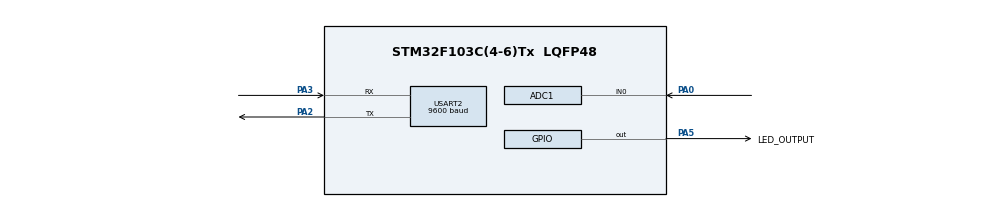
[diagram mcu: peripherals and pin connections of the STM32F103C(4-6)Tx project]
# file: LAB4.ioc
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ADC1.Channel-0\#ChannelRegularConversion=ADC_CHANNEL_0
ADC1.ContinuousConvMode=ENABLE
ADC1.NbrOfConversionFlag=1
ADC1.Rank-0\#ChannelRegularConversion=1
ADC1.SamplingTime-0\#ChannelRegularConversion=ADC_SAMPLETIME_1CYCLE_5
ADC1.master=1
Mcu.Family=STM32F1
Mcu.Name=STM32F103C(4-6)Tx
Mcu.Package=LQFP48
NVIC.PriorityGroup=NVIC_PRIORITYGROUP_4
NVIC.TIM2_IRQn=true\:0\:0\:false\:false\:true\:true\:true
NVIC.USART2_IRQn=true\:0\:0\:false\:false\:true\:true\:true
PA0-WKUP.Signal=ADCx_IN0
PA2.Mode=Asynchronous
PA2.Signal=USART2_TX
PA3.Mode=Asynchronous
PA3.Signal=USART2_RX
PA5.GPIO_Label=LED_OUTPUT
PA5.Signal=GPIO_Output
ProjectManager.HeapSize=0x200
ProjectManager.StackSize=0x400
ProjectManager.TargetToolchain=STM32CubeIDE
RCC.APB1Freq_Value=8000000
RCC.APB2Freq_Value=8000000
SH.ADCx_IN0.0=ADC1_IN0,IN0
TIM2.Period=9
TIM2.Prescaler=7999
USART2.BaudRate=9600
USART2.VirtualMode=VM_ASYNC
VP_SYS_VS_ND.Mode=No_Debug
VP_TIM2_VS_ClockSourceINT.Mode=Internal
board=custom

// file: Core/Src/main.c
/* USER CODE BEGIN Header */
/**
  ******************************************************************************
  * @file           : main.c
  * @brief          : Main program body
  ******************************************************************************
  * @attention
  *
  * <h2><center>&copy; Copyright (c) 2023 STMicroelectronics.
  * All rights reserved.</center></h2>
  *
  * This software component is licensed by ST under BSD 3-Clause license,
  * the "License"; You may not use this file except in compliance with the
  * License. You may obtain a copy of the License at:
  *                        opensource.org/licenses/BSD-3-Clause
  *
  ******************************************************************************
  */
/* USER CODE END Header */
#include "main.h"
#include "uart_fsm.h"

TIM_HandleTypeDef htim2;

ADC_HandleTypeDef hadc1;

UART_HandleTypeDef huart2;

void SystemClock_Config(void);
static void MX_GPIO_Init(void);
static void MX_USART2_UART_Init(void);
static void MX_ADC1_Init(void);
static void MX_TIM2_Init(void);

int main(void)
{

  /* MCU Configuration--------------------------------------------------------*/

  /* Reset of all peripherals, Initializes the Flash interface and the Systick. */
  HAL_Init();

  /* Configure the system clock */
  SystemClock_Config();

  /* Initialize all configured peripherals */
  MX_GPIO_Init();
  MX_USART2_UART_Init();
  MX_ADC1_Init();
  MX_TIM2_Init();
  /* USER CODE BEGIN 2 */
  HAL_TIM_Base_Start_IT (& htim2 ) ;
  /* USER CODE END 2 */

  /* Infinite loop */
  /* USER CODE BEGIN WHILE */
  initial_program();
  HAL_UART_Receive_IT(&huart2, &temp, 1);
  setTimer(50, 1);
//  setTimer(50, 2);
//  setTimer(100, 3);
  while (1)
  {
	  if (timer_flag[1] == 1) {
		  HAL_GPIO_TogglePin(LED_OUTPUT_GPIO_Port, LED_OUTPUT_Pin);
		  setTimer(50, 1);
	  }
//	  HAL_ADC_Start(&hadc1);
//	  ADC_value = HAL_ADC_GetValue(&hadc1);
//	  HAL_ADC_Stop(&hadc1);
//	  HAL_UART_Transmit(&huart2, (void *)str, sprintf(str, "%d\r", ADC_value), 1000);
//	  HAL_Delay(2000);

	  if(buffer_flag == 1) {
	  			  command_parser_fsm();
	  			  buffer_flag = 0;
	  		  }
	  uart_communication_fsm();

//	  if (timer_flag[2] == 1) {
//
//		  setTimer(50, 2);
//	  }
//
//	  if (timer_flag[3] == 1) {
//
//		  setTimer(100, 3);
//	  }
    /* USER CODE END WHILE */

  }
}

void SystemClock_Config(void)
{
  RCC_OscInitTypeDef RCC_OscInitStruct = {0};
  RCC_ClkInitTypeDef RCC_ClkInitStruct = {0};
  RCC_PeriphCLKInitTypeDef PeriphClkInit = {0};

  /** Initializes the RCC Oscillators according to the specified parameters
  * in the RCC_OscInitTypeDef structure.
  */
  RCC_OscInitStruct.OscillatorType = RCC_OSCILLATORTYPE_HSI;
  RCC_OscInitStruct.HSIState = RCC_HSI_ON;
  RCC_OscInitStruct.HSICalibrationValue = RCC_HSICALIBRATION_DEFAULT;
  RCC_OscInitStruct.PLL.PLLState = RCC_PLL_NONE;
  if (HAL_RCC_OscConfig(&RCC_OscInitStruct) != HAL_OK)
  {
    Error_Handler();
  }
  /** Initializes the CPU, AHB and APB buses clocks
  */
  RCC_ClkInitStruct.ClockType = RCC_CLOCKTYPE_HCLK|RCC_CLOCKTYPE_SYSCLK
                              |RCC_CLOCKTYPE_PCLK1|RCC_CLOCKTYPE_PCLK2;
  RCC_ClkInitStruct.SYSCLKSource = RCC_SYSCLKSOURCE_HSI;
  RCC_ClkInitStruct.AHBCLKDivider = RCC_SYSCLK_DIV1;
  RCC_ClkInitStruct.APB1CLKDivider = RCC_HCLK_DIV1;
  RCC_ClkInitStruct.APB2CLKDivider = RCC_HCLK_DIV1;

  if (HAL_RCC_ClockConfig(&RCC_ClkInitStruct, FLASH_LATENCY_0) != HAL_OK)
  {
    Error_Handler();
  }
  PeriphClkInit.PeriphClockSelection = RCC_PERIPHCLK_ADC;
  PeriphClkInit.AdcClockSelection = RCC_ADCPCLK2_DIV2;
  if (HAL_RCCEx_PeriphCLKConfig(&PeriphClkInit) != HAL_OK)
  {
    Error_Handler();
  }
}

static void MX_ADC1_Init(void)
{

  ADC_ChannelConfTypeDef sConfig = {0};

  /** Common config
  */
  hadc1.Instance = ADC1;
  hadc1.Init.ScanConvMode = ADC_SCAN_DISABLE;
  hadc1.Init.ContinuousConvMode = ENABLE;
  hadc1.Init.DiscontinuousConvMode = DISABLE;
  hadc1.Init.ExternalTrigConv = ADC_SOFTWARE_START;
  hadc1.Init.DataAlign = ADC_DATAALIGN_RIGHT;
  hadc1.Init.NbrOfConversion = 1;
  if (HAL_ADC_Init(&hadc1) != HAL_OK)
  {
    Error_Handler();
  }
  /** Configure Regular Channel
  */
  sConfig.Channel = ADC_CHANNEL_0;
  sConfig.Rank = ADC_REGULAR_RANK_1;
  sConfig.SamplingTime = ADC_SAMPLETIME_1CYCLE_5;
  if (HAL_ADC_ConfigChannel(&hadc1, &sConfig) != HAL_OK)
  {
    Error_Handler();
  }

}

static void MX_TIM2_Init(void)
{

  TIM_ClockConfigTypeDef sClockSourceConfig = {0};
  TIM_MasterConfigTypeDef sMasterConfig = {0};

  htim2.Instance = TIM2;
  htim2.Init.Prescaler = 7999;
  htim2.Init.CounterMode = TIM_COUNTERMODE_UP;
  htim2.Init.Period = 9;
  htim2.Init.ClockDivision = TIM_CLOCKDIVISION_DIV1;
  htim2.Init.AutoReloadPreload = TIM_AUTORELOAD_PRELOAD_DISABLE;
  if (HAL_TIM_Base_Init(&htim2) != HAL_OK)
  {
    Error_Handler();
  }
  sClockSourceConfig.ClockSource = TIM_CLOCKSOURCE_INTERNAL;
  if (HAL_TIM_ConfigClockSource(&htim2, &sClockSourceConfig) != HAL_OK)
  {
    Error_Handler();
  }
  sMasterConfig.MasterOutputTrigger = TIM_TRGO_RESET;
  sMasterConfig.MasterSlaveMode = TIM_MASTERSLAVEMODE_DISABLE;
  if (HAL_TIMEx_MasterConfigSynchronization(&htim2, &sMasterConfig) != HAL_OK)
  {
    Error_Handler();
  }

}

static void MX_USART2_UART_Init(void)
{

  huart2.Instance = USART2;
  huart2.Init.BaudRate = 9600;
  huart2.Init.WordLength = UART_WORDLENGTH_8B;
  huart2.Init.StopBits = UART_STOPBITS_1;
  huart2.Init.Parity = UART_PARITY_NONE;
  huart2.Init.Mode = UART_MODE_TX_RX;
  huart2.Init.HwFlowCtl = UART_HWCONTROL_NONE;
  huart2.Init.OverSampling = UART_OVERSAMPLING_16;
  if (HAL_UART_Init(&huart2) != HAL_OK)
  {
    Error_Handler();
  }

}

static void MX_GPIO_Init(void)
{
  GPIO_InitTypeDef GPIO_InitStruct = {0};

  /* GPIO Ports Clock Enable */
  __HAL_RCC_GPIOA_CLK_ENABLE();

  /*Configure GPIO pin Output Level */
  HAL_GPIO_WritePin(LED_OUTPUT_GPIO_Port, LED_OUTPUT_Pin, GPIO_PIN_RESET);

  /*Configure GPIO pin : LED_OUTPUT_Pin */
  GPIO_InitStruct.Pin = LED_OUTPUT_Pin;
  GPIO_InitStruct.Mode = GPIO_MODE_OUTPUT_PP;
  GPIO_InitStruct.Pull = GPIO_NOPULL;
  GPIO_InitStruct.Speed = GPIO_SPEED_FREQ_LOW;
  HAL_GPIO_Init(LED_OUTPUT_GPIO_Port, &GPIO_InitStruct);

}

/* USER CODE BEGIN 4 */
void HAL_UART_RxCpltCallback(UART_HandleTypeDef *huart) {
	if(huart->Instance == USART2) {
//		buffer[index_buffer++] = temp;
//		if (index_buffer >= MAX_BUFFER_SIZE) index_buffer = 0;
		buffer_flag = 1;
		HAL_UART_Transmit(&huart2, &temp, 1, 50);
		HAL_UART_Receive_IT(&huart2, &temp, 1);
	}
}

void HAL_TIM_PeriodElapsedCallback(TIM_HandleTypeDef *htim) {
	timerRun(0);
	timerRun(1);
	timerRun(2);
	timerRun(3);
}

void initial_program() {
	uint8_t begin[] = "Hello UART\rType !RST# for displaying ADC value\r     !OK# for ending program\rYour command: ";
	HAL_UART_Transmit(&huart2, begin, sizeof(begin), 1000);
}
/* USER CODE END 4 */

void Error_Handler(void)
{
  __disable_irq();
  while (1)
  {
  }
}

/************************ (C) COPYRIGHT STMicroelectronics *****END OF FILE****/
